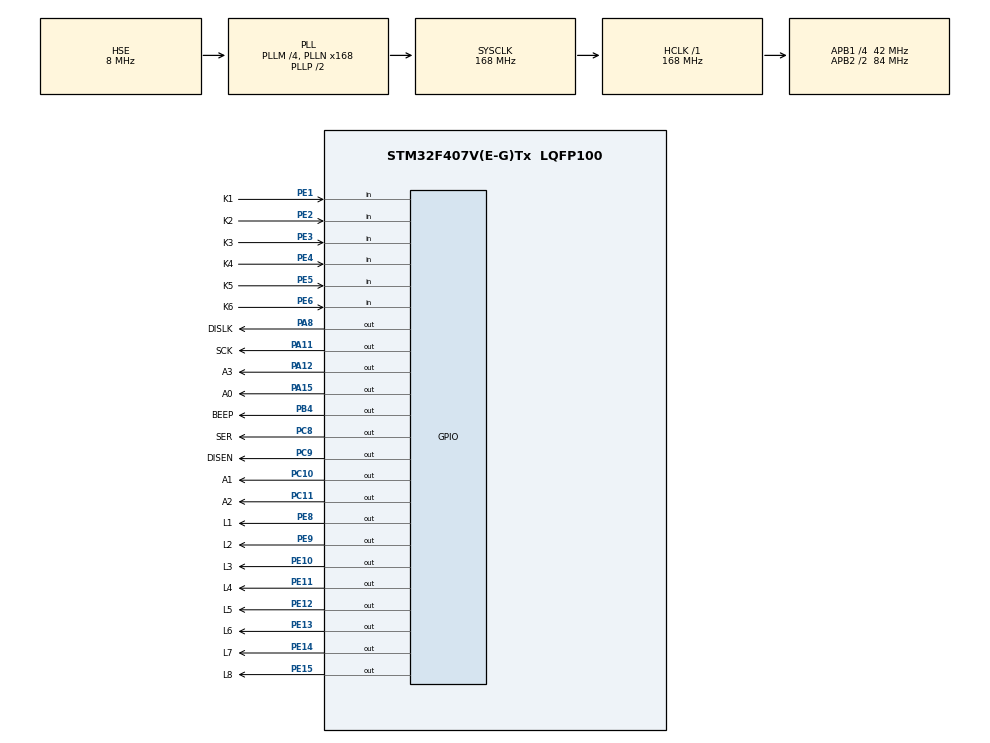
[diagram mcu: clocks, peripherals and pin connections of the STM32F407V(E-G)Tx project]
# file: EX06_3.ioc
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FREERTOS.Tasks01=TaskLED,24,256,StartTaskLED,Default,NULL,Dynamic,NULL,NULL;TaskBeep,8,256,StartTaskBeep,Default,NULL,Dynamic,NULL,NULL;TaskKey,8,256,StartTaskKey,Default,NULL,Dynamic,NULL,NULL;TaskMain,8,128,StartTaskMain,Default,NULL,Dynamic,NULL,NULL;TaskSeg,8,128,StartTaskSeg,Default,NULL,Dynamic,NULL,NULL
Mcu.Family=STM32F4
Mcu.Name=STM32F407V(E-G)Tx
Mcu.Package=LQFP100
NVIC.PriorityGroup=NVIC_PRIORITYGROUP_4
NVIC.TIM1_BRK_TIM9_IRQn=true\:5\:0\:false\:false\:true\:false\:false\:true
NVIC.TIM1_CC_IRQn=true\:5\:0\:false\:false\:true\:true\:true\:true
NVIC.TIM4_IRQn=true\:5\:0\:false\:false\:true\:true\:true\:true
NVIC.TIM6_DAC_IRQn=true\:5\:0\:false\:false\:true\:true\:true\:true
NVIC.TimeBase=TIM1_BRK_TIM9_IRQn
NVIC.TimeBaseIP=TIM9
PA11.GPIO_Label=SCK
PA11.Signal=GPIO_Output
PA12.GPIO_Label=A3
PA12.Signal=GPIO_Output
PA13.Mode=Serial_Wire
PA13.Signal=SYS_JTMS-SWDIO
PA14.Mode=Serial_Wire
PA14.Signal=SYS_JTCK-SWCLK
PA15.GPIO_Label=A0
PA15.Signal=GPIO_Output
PA8.GPIO_Label=DISLK
PA8.Signal=GPIO_Output
PB4.GPIO_Label=BEEP
PB4.Signal=GPIO_Output
PC10.GPIO_Label=A1
PC10.Signal=GPIO_Output
PC11.GPIO_Label=A2
PC11.Signal=GPIO_Output
PC8.GPIO_Label=SER
PC8.Signal=GPIO_Output
PC9.GPIO_Label=DISEN
PC9.Signal=GPIO_Output
PE1.GPIO_Label=K1
PE1.GPIO_PuPd=GPIO_PULLUP
PE1.Signal=GPIO_Input
PE10.GPIO_Label=L3
PE10.Signal=GPIO_Output
PE11.GPIO_Label=L4
PE11.Signal=GPIO_Output
PE12.GPIO_Label=L5
PE12.Signal=GPIO_Output
PE13.GPIO_Label=L6
PE13.Signal=GPIO_Output
PE14.GPIO_Label=L7
PE14.Signal=GPIO_Output
PE15.GPIO_Label=L8
PE15.PinState=GPIO_PIN_SET
PE15.Signal=GPIO_Output
PE2.GPIO_Label=K2
PE2.GPIO_PuPd=GPIO_PULLUP
PE2.Signal=GPIO_Input
PE3.GPIO_Label=K3
PE3.GPIO_PuPd=GPIO_PULLUP
PE3.Signal=GPIO_Input
PE4.GPIO_Label=K4
PE4.GPIO_PuPd=GPIO_PULLUP
PE4.Signal=GPIO_Input
PE5.GPIO_Label=K5
PE5.GPIO_PuPd=GPIO_PULLDOWN
PE5.Signal=GPIO_Input
PE6.GPIO_Label=K6
PE6.GPIO_PuPd=GPIO_PULLDOWN
PE6.Signal=GPIO_Input
PE8.GPIO_Label=L1
PE8.Signal=GPIO_Output
PE9.GPIO_Label=L2
PE9.Signal=GPIO_Output
PH0-OSC_IN.Mode=HSE-External-Oscillator
PH0-OSC_IN.Signal=RCC_OSC_IN
PH1-OSC_OUT.Mode=HSE-External-Oscillator
PH1-OSC_OUT.Signal=RCC_OSC_OUT
ProjectManager.HeapSize=0x200
ProjectManager.StackSize=0x400
ProjectManager.TargetToolchain=MDK-ARM V5.27
RCC.48MHZClocksFreq_Value=84000000
RCC.AHBFreq_Value=168000000
RCC.APB1CLKDivider=RCC_HCLK_DIV4
RCC.APB1Freq_Value=42000000
RCC.APB1TimFreq_Value=84000000
RCC.APB2CLKDivider=RCC_HCLK_DIV2
RCC.APB2Freq_Value=84000000
RCC.APB2TimFreq_Value=168000000
RCC.CortexFreq_Value=168000000
RCC.HCLKFreq_Value=168000000
RCC.HSE_VALUE=8000000
RCC.HSI_VALUE=16000000
RCC.LSE_VALUE=32768
RCC.PLLM=4
RCC.PLLN=168
RCC.PLLSourceVirtual=RCC_PLLSOURCE_HSE
RCC.SYSCLKFreq_VALUE=168000000
RCC.SYSCLKSource=RCC_SYSCLKSOURCE_PLLCLK
RCC.VCOOutputFreq_Value=336000000
TIM1.Period=100-1
TIM1.Prescaler=168-1
TIM4.Prescaler=168-1
TIM6.AutoReloadPreload=TIM_AUTORELOAD_PRELOAD_ENABLE
TIM6.Period=100-1
TIM6.Prescaler=84-1
VP_FREERTOS_VS_CMSIS_V2.Mode=CMSIS_V2
VP_SYS_VS_tim9.Mode=TIM9
VP_TIM1_VS_ClockSourceINT.Mode=Internal
VP_TIM4_VS_ClockSourceINT.Mode=Internal
VP_TIM6_VS_ClockSourceINT.Mode=Enable_Timer
board=custom

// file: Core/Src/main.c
/* USER CODE BEGIN Header */
/**
  ******************************************************************************
  * @file           : main.c
  * @brief          : Main program body
  ******************************************************************************
  * @attention
  *
  * <h2><center>&copy; Copyright (c) 2021 STMicroelectronics.
  * All rights reserved.</center></h2>
  *
  * This software component is licensed by ST under Ultimate Liberty license
  * SLA0044, the "License"; You may not use this file except in compliance with
  * the License. You may obtain a copy of the License at:
  *                             www.st.com/SLA0044
  *
  ******************************************************************************
  */
/* USER CODE END Header */
#include "main.h"
#include "cmsis_os.h"
#include "tim.h"
#include "gpio.h"

/* USER CODE BEGIN PV */
int g_beep_time = 0;
uint8_t leds_light[8] = {0, 0, 0, 0, 0, 0, 0, 0};
uint8_t led_count = 0;
extern uint8_t led_num;
/* USER CODE END PV */

void SystemClock_Config(void);
void MX_FREERTOS_Init(void);

int main(void)
{

  /* MCU Configuration--------------------------------------------------------*/

  /* Reset of all peripherals, Initializes the Flash interface and the Systick. */
  HAL_Init();

  /* Configure the system clock */
  SystemClock_Config();

  /* Initialize all configured peripherals */
  MX_GPIO_Init();
  MX_TIM4_Init();
  MX_TIM1_Init();
  MX_TIM6_Init();
  /* USER CODE BEGIN 2 */
  HAL_TIM_Base_Start_IT(&htim6);
  /* USER CODE END 2 */

  /* Init scheduler */
  osKernelInitialize();  /* Call init function for freertos objects (in freertos.c) */
  MX_FREERTOS_Init();
  /* Start scheduler */
  osKernelStart();

  /* We should never get here as control is now taken by the scheduler */
  /* Infinite loop */
  while (1)
  {

  }
}

void SystemClock_Config(void)
{
  RCC_OscInitTypeDef RCC_OscInitStruct = {0};
  RCC_ClkInitTypeDef RCC_ClkInitStruct = {0};

  /** Configure the main internal regulator output voltage
  */
  __HAL_RCC_PWR_CLK_ENABLE();
  __HAL_PWR_VOLTAGESCALING_CONFIG(PWR_REGULATOR_VOLTAGE_SCALE1);
  /** Initializes the RCC Oscillators according to the specified parameters
  * in the RCC_OscInitTypeDef structure.
  */
  RCC_OscInitStruct.OscillatorType = RCC_OSCILLATORTYPE_HSE;
  RCC_OscInitStruct.HSEState = RCC_HSE_ON;
  RCC_OscInitStruct.PLL.PLLState = RCC_PLL_ON;
  RCC_OscInitStruct.PLL.PLLSource = RCC_PLLSOURCE_HSE;
  RCC_OscInitStruct.PLL.PLLM = 4;
  RCC_OscInitStruct.PLL.PLLN = 168;
  RCC_OscInitStruct.PLL.PLLP = RCC_PLLP_DIV2;
  RCC_OscInitStruct.PLL.PLLQ = 4;
  if (HAL_RCC_OscConfig(&RCC_OscInitStruct) != HAL_OK)
  {
    Error_Handler();
  }
  /** Initializes the CPU, AHB and APB buses clocks
  */
  RCC_ClkInitStruct.ClockType = RCC_CLOCKTYPE_HCLK|RCC_CLOCKTYPE_SYSCLK
                              |RCC_CLOCKTYPE_PCLK1|RCC_CLOCKTYPE_PCLK2;
  RCC_ClkInitStruct.SYSCLKSource = RCC_SYSCLKSOURCE_PLLCLK;
  RCC_ClkInitStruct.AHBCLKDivider = RCC_SYSCLK_DIV1;
  RCC_ClkInitStruct.APB1CLKDivider = RCC_HCLK_DIV4;
  RCC_ClkInitStruct.APB2CLKDivider = RCC_HCLK_DIV2;

  if (HAL_RCC_ClockConfig(&RCC_ClkInitStruct, FLASH_LATENCY_5) != HAL_OK)
  {
    Error_Handler();
  }
}

void HAL_TIM_PeriodElapsedCallback(TIM_HandleTypeDef *htim)
{
  if (htim->Instance == TIM9) {
    HAL_IncTick();
  }
  /* USER CODE BEGIN Callback 1 */
  if (htim->Instance == TIM4)
	{
		if(g_beep_time > 0)
		{
			HAL_GPIO_TogglePin(BEEP_GPIO_Port,BEEP_Pin);
			--g_beep_time;
		}
	}
	uint8_t i;
	if (htim->Instance == TIM6)
	{
		if(led_count ++ >=100)
			led_count = 0;

		for(i = 0; i < led_num; i ++)
		{
			if(led_count < leds_light[i])
				HAL_GPIO_WritePin(L1_GPIO_Port, L1_Pin << i, GPIO_PIN_RESET);
		  else
				HAL_GPIO_WritePin(L1_GPIO_Port, L1_Pin << i, GPIO_PIN_SET);
		}

		for(i = led_num; i < 8; i ++)
		{
				HAL_GPIO_WritePin(L1_GPIO_Port, L1_Pin << i, GPIO_PIN_SET);
		}

	}
  /* USER CODE END Callback 1 */
}

void Error_Handler(void)
{
  __disable_irq();
  while (1)
  {
  }
}

/************************ (C) COPYRIGHT STMicroelectronics *****END OF FILE****/
